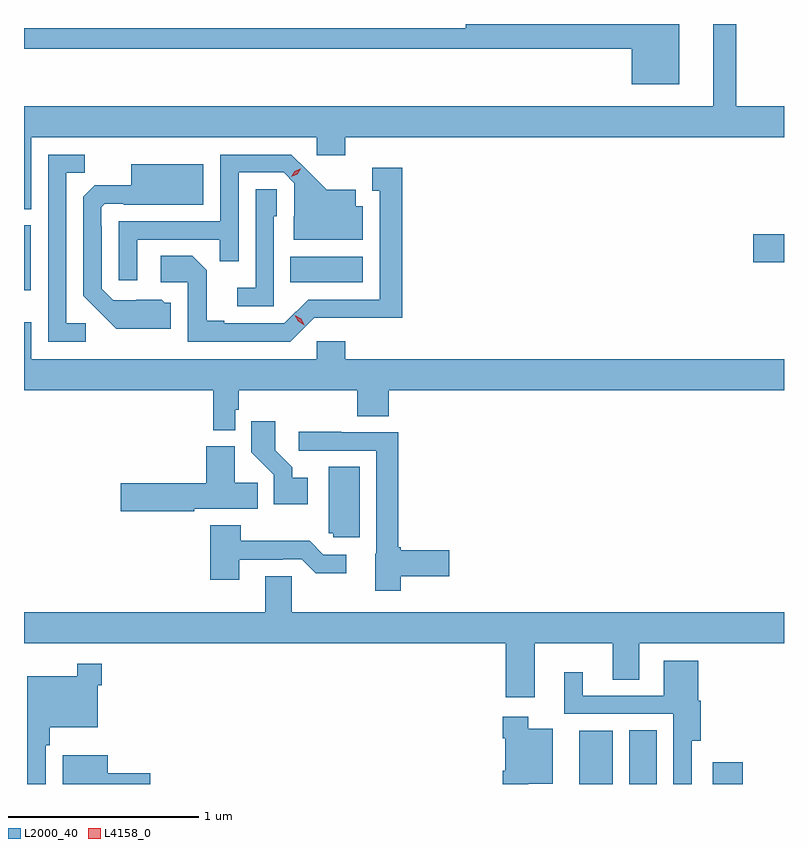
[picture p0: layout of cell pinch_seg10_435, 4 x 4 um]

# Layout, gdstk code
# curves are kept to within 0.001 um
import gdstk
lib = gdstk.Library(unit=1e-6, precision=1e-09)
def R(c, l, rs):  # rectangles x0, y0, x1, y1
    for r in rs: c.add(gdstk.rectangle(r[:2], r[2:], *l))
def P(c, l, *ps):  # polygons
    for p in ps: c.add(gdstk.Polygon(p, *l))
L2000_40 = (2000, 40)
L4158_0 = (4158, 0)

pinch_seg10_435 = lib.new_cell('pinch_seg10_435')
R(pinch_seg10_435, L2000_40, [(337.58,1296.912,337.756,1297.192), (337.844,1296.912,337.987,1297.196), (338.282,1296.912,338.44,1297.027), (334.658,1299.51,334.693,1299.853), (336.058,1299.554,336.442,1299.688), (338.496,1299.659,338.658,1299.806)])
P(pinch_seg10_435, L2000_40, [(334.696,1300.316),(336.198,1300.316),(336.198,1300.221),(336.35,1300.221),(336.35,1300.316),(338.658,1300.316),(338.658,1300.48),(338.407,1300.48),(338.407,1300.912),(338.285,1300.912),(338.285,1300.48),(334.658,1300.48),(334.658,1299.938),(334.696,1299.938)],
  [(338.107,1300.912),(337.986,1300.912),(337.986,1300.91),(336.982,1300.91),(336.982,1300.89),(334.658,1300.89),(334.658,1300.782),(337.856,1300.782),(337.856,1300.595),(338.107,1300.595)],
  [(334.984,1299.336),(334.881,1299.336),(334.881,1300.129),(334.977,1300.129),(334.977,1300.224),(334.785,1300.224),(334.785,1299.24),(334.984,1299.24)],
  [(335.253,1299.777),(335.689,1299.777),(335.689,1299.664),(335.787,1299.664),(335.787,1300.131),(336.024,1300.131),(336.081,1300.074),(336.081,1299.9),(336.077,1299.9),(336.077,1299.776),(336.442,1299.776),(336.442,1299.952),(336.403,1299.952),(336.403,1300.039),(336.251,1300.039),(336.064,1300.224),(335.691,1300.224),(335.691,1299.873),(335.157,1299.873),(335.157,1299.564),(335.253,1299.564)],
  [(335.431,1299.444),(335.4,1299.444),(335.384,1299.46),(335.127,1299.459),(335.067,1299.519),(335.067,1299.848),(335.064,1299.848),(335.064,1299.948),(335.082,1299.966),(335.182,1299.966),(335.182,1299.962),(335.602,1299.962),(335.602,1300.174),(335.222,1300.174),(335.222,1300.063),(335.03,1300.063),(334.971,1300.004),(334.971,1299.482),(335.143,1299.308),(335.431,1299.308)],
  [(336.186,1299.366),(336.649,1299.365),(336.649,1300.156),(336.491,1300.156),(336.491,1300.035),(336.53,1300.035),(336.53,1299.462),(336.153,1299.462),(336.027,1299.336),(335.713,1299.336),(335.713,1299.349),(335.619,1299.349),(335.619,1299.616),(335.543,1299.692),(335.379,1299.692),(335.379,1299.552),(335.52,1299.552),(335.52,1299.24),(336.06,1299.24)],
  [(335.973,1299.9),(335.988,1299.9),(335.988,1300.043),(335.877,1300.043),(335.877,1299.523),(335.781,1299.523),(335.781,1299.426),(335.973,1299.426)],
  [(335.769,1298.883),(335.789,1298.883),(335.789,1298.984),(336.413,1298.984),(336.413,1298.848),(336.578,1298.848),(336.578,1298.984),(338.658,1298.984),(338.658,1299.148),(336.35,1299.148),(336.35,1299.241),(336.198,1299.241),(336.198,1299.148),(334.696,1299.148),(334.696,1299.343),(334.658,1299.343),(334.658,1298.984),(335.653,1298.984),(335.653,1298.774),(335.769,1298.774)],
  [(336.151,1298.524),(336.07,1298.524),(336.07,1298.579),(335.98,1298.669),(335.98,1298.821),(335.854,1298.821),(335.854,1298.658),(335.973,1298.539),(335.973,1298.384),(336.151,1298.384)],
  [(336.642,1298.006),(336.895,1298.006),(336.895,1298.141),(336.642,1298.141),(336.642,1298.159),(336.629,1298.159),(336.629,1298.763),(336.329,1298.763),(336.329,1298.766),(336.105,1298.766),(336.105,1298.667),(336.513,1298.667),(336.513,1298.124),(336.506,1298.124),(336.506,1297.928),(336.642,1297.928)],
  [(335.555,1298.36),(335.888,1298.36),(335.888,1298.498),(335.767,1298.498),(335.767,1298.689),(335.618,1298.689),(335.618,1298.495),(335.166,1298.495),(335.166,1298.348),(335.555,1298.348)],
  [(336.424,1298.581),(336.263,1298.581),(336.263,1298.232),(336.285,1298.232),(336.285,1298.211),(336.424,1298.211)],
  [(335.791,1298.091),(336.02,1298.091),(336.02,1298.094),(336.12,1298.094),(336.193,1298.021),(336.355,1298.021),(336.355,1298.118),(336.234,1298.118),(336.161,1298.191),(335.799,1298.191),(335.799,1298.275),(335.639,1298.275),(335.639,1297.986),(335.791,1297.986)],
  [(337.345,1297.652),(337.757,1297.652),(337.757,1297.462),(337.897,1297.462),(337.897,1297.652),(338.658,1297.652),(338.658,1297.816),(336.066,1297.816),(336.066,1298.006),(335.927,1298.006),(335.927,1297.816),(334.658,1297.816),(334.658,1297.652),(337.193,1297.652),(337.193,1297.368),(337.345,1297.368)],
  [(338.172,1297.139),(338.219,1297.139),(338.219,1297.35),(338.206,1297.35),(338.206,1297.561),(338.024,1297.561),(338.024,1297.377),(337.6,1297.377),(337.6,1297.501),(337.502,1297.501),(337.502,1297.281),(338.076,1297.281),(338.076,1296.912),(338.172,1296.912)],
  [(334.773,1297.115),(334.793,1297.115),(334.793,1297.211),(335.046,1297.211),(335.046,1297.433),(335.066,1297.433),(335.066,1297.546),(334.938,1297.546),(334.938,1297.48),(334.676,1297.48),(334.676,1296.912),(334.773,1296.912)],
  [(337.312,1296.914),(337.441,1296.914),(337.441,1297.204),(337.312,1297.204),(337.312,1297.267),(337.178,1297.267),(337.178,1297.154),(337.19,1297.154),(337.19,1296.982),(337.178,1296.982),(337.178,1296.912),(337.312,1296.912)],
  [(335.323,1296.968),(335.098,1296.968),(335.098,1297.063),(334.862,1297.063),(334.862,1296.912),(335.323,1296.912)])
P(pinch_seg10_435, L4158_0, [(336.133,1299.327),(336.101,1299.347),(336.084,1299.379),(336.084,1299.38),(336.084,1299.38),(336.116,1299.36),(336.134,1299.328),(336.134,1299.327)],
  [(336.064,1300.107),(336.064,1300.107),(336.082,1300.136),(336.113,1300.151),(336.114,1300.151),(336.114,1300.151),(336.096,1300.121),(336.064,1300.107)])

lib.write_gds('pinch_seg10_435.gds')
